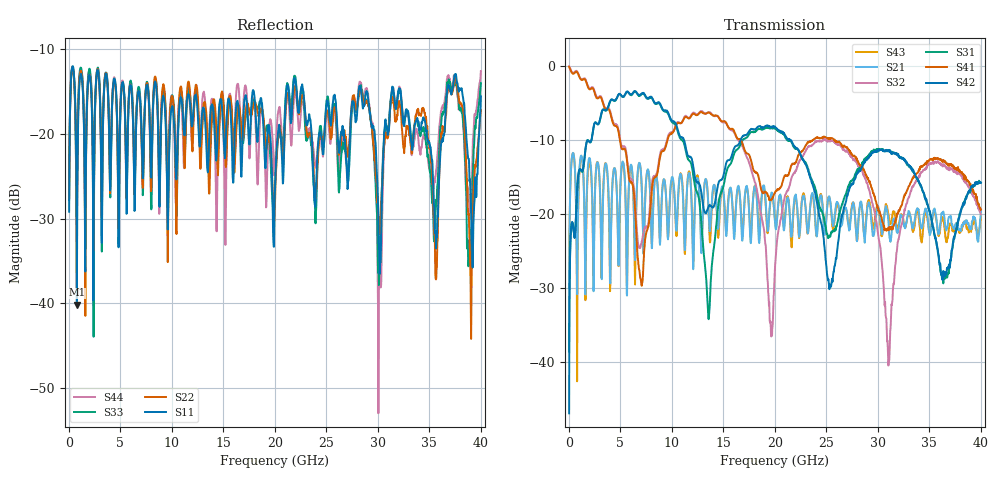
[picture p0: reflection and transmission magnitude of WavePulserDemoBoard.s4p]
! C:\LeCroy\WavePulser\Results\WavePulserDemoBoard.s4p
! Tue Nov  5 13:09:32 2019
!!Measured using Teledyne LeCroy WavePulser LCRY4096E1
!SingleEnded
! freq S11 S12 S13 S14
! S21 S22 S23 S24
! S31 S32 S33 S34
! S41 S42 S43 S44
# MHz S MA R 50.00
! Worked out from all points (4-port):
!   1600 points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, 25 MHz to 40 GHz, reference 50 ohm
!   strongest paths, dB at 25 MHz, 10.03 GHz, 20.02 GHz, 30.02 GHz, 40 GHz:
!     S42: -46.9, -7.4, -8.3, -11.4, -15.8
!     S41: -0.2, -9.1, -17.1, -19.2, -19.4
!     S31: -38.6, -7.6, -8.5, -11.4, -15.8
!     S32: -0.1, -9.0, -26.9, -22.9, -20.1
!     S21: -30.1, -15.1, -21.4, -19.0, -19.6
!     S43: -28.4, -15.3, -21.1, -19.0, -20.5
!   lowest |S11| = -40.2 dB at 775 MHz (marker M1), VSWR 1.02, Z = 49.4 - j0.73 ohm
!   |S11| at or under -10 dB: start of sweep to end of sweep
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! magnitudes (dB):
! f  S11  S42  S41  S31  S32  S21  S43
! 25 MHz  -29.2  -46.9  -0.2  -38.6  -0.1  -30.1  -28.4
! 775 MHz  -40.2  -17.5  -0.9  -17.6  -0.7  -28.3  -29.8
! 7 GHz  -17.9  -3.9  -29.1  -4.0  -24.1  -14.4  -14.5
! 13.55 GHz  -23.0  -19.1  -6.3  -34.2  -6.3  -19.2  -19.2
! 19.62 GHz  -21.7  -8.3  -18.2  -8.4  -36.3  -17.5  -17.8
! 30.18 GHz  -36.5  -11.3  -19.8  -11.4  -24.0  -19.9  -20.4
! 40 GHz  -15.6  -15.8  -19.4  -15.8  -20.1  -19.6  -20.5
